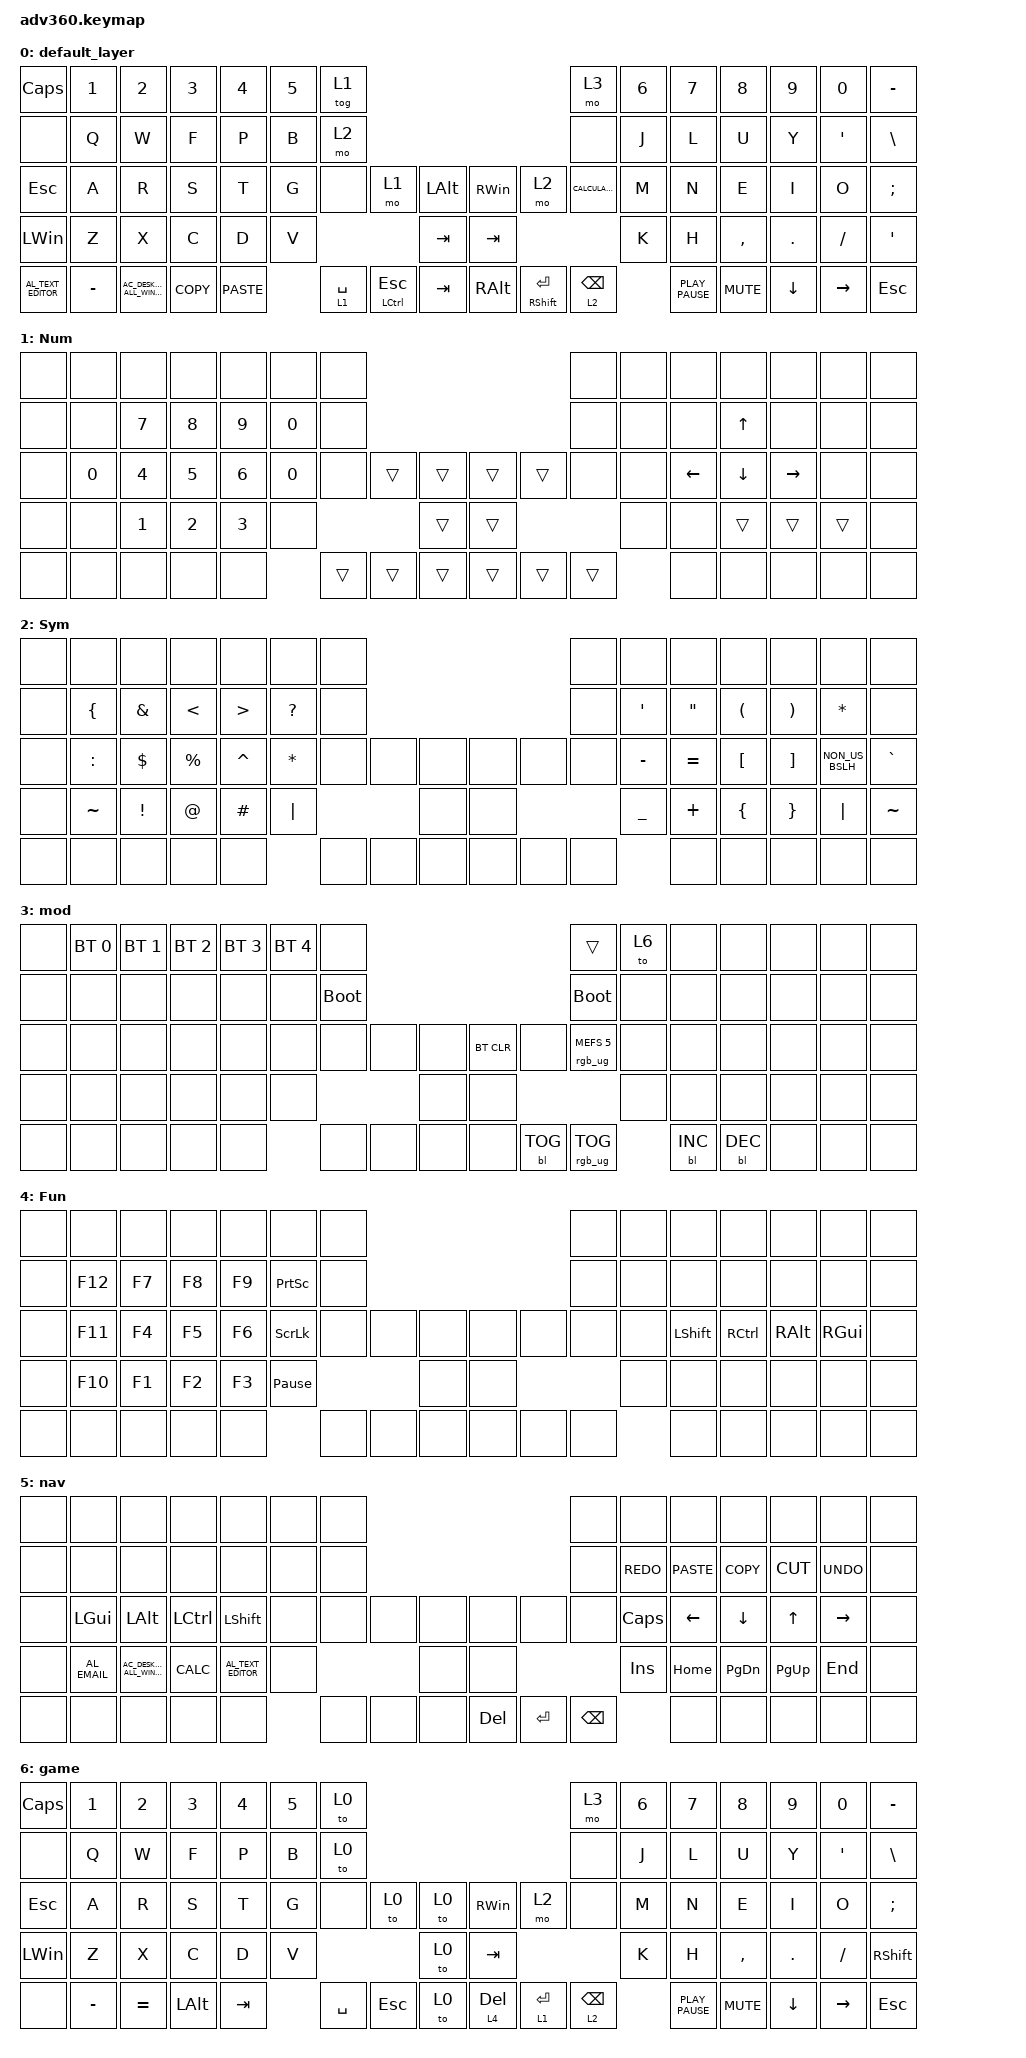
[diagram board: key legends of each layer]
#include <behaviors.dtsi>
#include <dt-bindings/zmk/backlight.h>
#include <dt-bindings/zmk/bt.h>
#include <dt-bindings/zmk/keys.h>
#include <dt-bindings/zmk/rgb.h>

/ {
    behaviors {
        #include "macros.dtsi"
      #include "version.dtsi"
      #ifndef VERSION_MACRO

        cmd: cmd {
            compatible = "zmk,behavior-macro";
            #binding-cells = <0>;
            bindings = <&kp LEFT_CONTROL &kp LEFT_ALT &kp T>;
            label = "CMD";
        };

        #endif

        lhm: left_homerow_mods {
            compatible = "zmk,behavior-hold-tap";
            label = "LEFT_HOMEROW_MODS";
            #binding-cells = <2>;
            tapping-term-ms = <400>;
            flavor = "tap-unless-interrupted";
            bindings = <&kp>, <&kp>;

            quick-tap-ms = <200>;
            hold-trigger-key-positions = <22 23 25 24 40 41 42 43 44 54 55 44 56 57 58 45 26 27 8 9 10 11 12 13 53 68 69 70>;
        };

        rhm: right_homerow_mod {
            compatible = "zmk,behavior-hold-tap";
            label = "RIGHT_HOMEROW_MODS";
            #binding-cells = <2>;
            tapping-term-ms = <400>;
            flavor = "tap-unless-interrupted";
            bindings = <&kp>, <&kp>;

            quick-tap-ms = <200>;
            hold-trigger-key-positions = <1 2 3 4 5 15 16 17 18 19 15 29 30 31 32 33 29 47 48 49 50 51 61 62 63 64 36 52 67 66 65>;
        };
    };

    macros {
    };

    keymap {
        compatible = "zmk,keymap";

        default_layer {
            bindings = <
&kp CAPS              &kp N1     &kp N2                             &kp N3      &kp N4       &kp N5  &tog 1                                                                                    &mo 3             &kp N6  &kp N7            &kp N8      &kp N9    &kp N0     &kp MINUS
&none                 &kp Q      &kp W                              &kp F       &kp P        &kp B   &mo 2                                                                                     &none             &kp J   &kp L             &kp U       &kp Y     &kp SQT    &kp BSLH
&kp ESC               &kp A      &kp R                              &kp S       &kp T        &kp G   &none        &mo 1                    &kp LALT      &kp RIGHT_WIN  &mo 2                  &kp K_CALCULATOR  &kp M   &kp N             &kp E       &kp I     &kp O      &kp SEMICOLON
&kp LEFT_WIN          &kp Z      &kp X                              &kp C       &kp D        &kp V                                         &kp TAB       &kp TAB                                                 &kp K   &kp H             &kp COMMA   &kp DOT   &kp FSLH   &kp SQT
&kp C_AL_TEXT_EDITOR  &kp MINUS  &kp C_AC_DESKTOP_SHOW_ALL_WINDOWS  &kp K_COPY  &kp K_PASTE          &lt 1 SPACE  &mt LEFT_CONTROL ESCAPE  &kp TAB       &kp RIGHT_ALT  &mt RIGHT_SHIFT ENTER  &lt 2 BACKSPACE           &kp K_PLAY_PAUSE  &kp K_MUTE  &kp DOWN  &kp RIGHT  &kp ESC
            >;
        };

        Num {
            bindings = <
&none  &none   &none   &none   &none   &none   &none                                       &none   &none  &none     &none         &none      &none   &none
&none  &none   &kp N7  &kp N8  &kp N9  &kp N0  &none                                       &none   &none  &none     &kp UP_ARROW  &none      &none   &none
&none  &kp N0  &kp N4  &kp N5  &kp N6  &kp N0  &none   &trans  &trans      &trans  &trans  &none   &none  &kp LEFT  &kp DOWN      &kp RIGHT  &none   &none
&none  &none   &kp N1  &kp N2  &kp N3  &none                   &trans      &trans                  &none  &none     &trans        &trans     &trans  &none
&none  &none   &none   &none   &none           &trans  &trans  &trans      &trans  &trans  &trans         &none     &none         &none      &none   &none
            >;
        };

        Sym {
            bindings = <
&none  &none           &none            &none          &none             &none         &none                                  &none  &none             &none              &none                 &none                  &none            &none
&none  &kp LEFT_BRACE  &kp AMPERSAND    &kp LESS_THAN  &kp GREATER_THAN  &kp QUESTION  &none                                  &none  &kp SINGLE_QUOTE  &kp DOUBLE_QUOTES  &kp LEFT_PARENTHESIS  &kp RIGHT_PARENTHESIS  &kp ASTRK        &none
&none  &kp COLON       &kp DOLLAR       &kp PERCENT    &kp CARET         &kp ASTRK     &none  &none  &none      &none  &none  &none  &kp MINUS         &kp EQUAL          &kp LEFT_BRACKET      &kp RIGHT_BRACKET      &kp NON_US_BSLH  &kp GRAVE
&none  &kp TILDE       &kp EXCLAMATION  &kp AT_SIGN    &kp HASH          &kp PIPE                    &none      &none                &kp UNDERSCORE    &kp PLUS           &kp LEFT_BRACE        &kp RIGHT_BRACE        &kp PIPE         &kp TILDE
&none  &none           &none            &none          &none                           &none  &none  &none      &none  &none  &none                    &none              &none                 &none                  &none            &none
            >;
        };

        mod {
            bindings = <
&none  &bt BT_SEL 0  &bt BT_SEL 1  &bt BT_SEL 2  &bt BT_SEL 3  &bt BT_SEL 4  &none                                                  &trans                  &to 6  &none       &none       &none  &none  &none
&none  &none         &none         &none         &none         &none         &bootloader                                            &bootloader             &none  &none       &none       &none  &none  &none
&none  &none         &none         &none         &none         &none         &none        &none  &none      &bt BT_CLR  &none       &rgb_ug RGB_MEFS_CMD 5  &none  &none       &none       &none  &none  &none
&none  &none         &none         &none         &none         &none                             &none      &none                                           &none  &none       &none       &none  &none  &none
&none  &none         &none         &none         &none                       &none        &none  &none      &none       &bl BL_TOG  &rgb_ug RGB_TOG                &bl BL_INC  &bl BL_DEC  &none  &none  &none
            >;
        };

        Fun {
            bindings = <
&none  &none    &none   &none   &none   &none            &none                                  &none  &none  &none      &none      &none     &none     &none
&none  &kp F12  &kp F7  &kp F8  &kp F9  &kp PRINTSCREEN  &none                                  &none  &none  &none      &none      &none     &none     &none
&none  &kp F11  &kp F4  &kp F5  &kp F6  &kp SCROLLLOCK   &none  &none  &none      &none  &none  &none  &none  &kp LSHFT  &kp RCTRL  &kp RALT  &kp RGUI  &none
&none  &kp F10  &kp F1  &kp F2  &kp F3  &kp PAUSE_BREAK                &none      &none                &none  &none      &none      &none     &none     &none
&none  &none    &none   &none   &none                    &none  &none  &none      &none  &none  &none         &none      &none      &none     &none     &none
            >;
        };

        nav {
            bindings = <
&none  &none           &none                              &none       &none                 &none  &none                                        &none     &none       &none           &none           &none         &none       &none
&none  &none           &none                              &none       &none                 &none  &none                                        &none     &kp K_REDO  &kp K_PASTE     &kp K_COPY      &kp K_CUT     &kp K_UNDO  &none
&none  &kp LGUI        &kp LALT                           &kp LCTRL   &kp LSHFT             &none  &none  &none  &none      &none    &none      &none     &kp CAPS    &kp LEFT_ARROW  &kp DOWN_ARROW  &kp UP_ARROW  &kp RIGHT   &none
&none  &kp C_AL_EMAIL  &kp C_AC_DESKTOP_SHOW_ALL_WINDOWS  &kp K_CALC  &kp C_AL_TEXT_EDITOR  &none                &none      &none                         &kp INS     &kp HOME        &kp PAGE_DOWN   &kp PAGE_UP   &kp END     &none
&none  &none           &none                              &none       &none                        &none  &none  &none      &kp DEL  &kp ENTER  &kp BSPC              &none           &none           &none         &none       &none
            >;
        };

        game {
            bindings = <
&kp CAPS      &kp N1     &kp N2     &kp N3        &kp N4   &kp N5  &to 0                                                         &mo 3            &kp N6  &kp N7            &kp N8      &kp N9    &kp N0     &kp MINUS
&none         &kp Q      &kp W      &kp F         &kp P    &kp B   &to 0                                                         &none            &kp J   &kp L             &kp U       &kp Y     &kp SQT    &kp BSLH
&kp ESC       &kp A      &kp R      &kp S         &kp T    &kp G   &none      &to 0       &to 0      &kp RIGHT_WIN  &mo 2        &none            &kp M   &kp N             &kp E       &kp I     &kp O      &kp SEMICOLON
&kp LEFT_WIN  &kp Z      &kp X      &kp C         &kp D    &kp V                          &to 0      &kp TAB                                      &kp K   &kp H             &kp COMMA   &kp DOT   &kp FSLH   &kp RSHFT
&none         &kp MINUS  &kp EQUAL  &kp LEFT_ALT  &kp TAB          &kp SPACE  &kp ESCAPE  &to 0      &lt 4 DEL      &lt 1 ENTER  &lt 2 BACKSPACE          &kp K_PLAY_PAUSE  &kp K_MUTE  &kp DOWN  &kp RIGHT  &kp ESC
            >;
        };
    };
};
